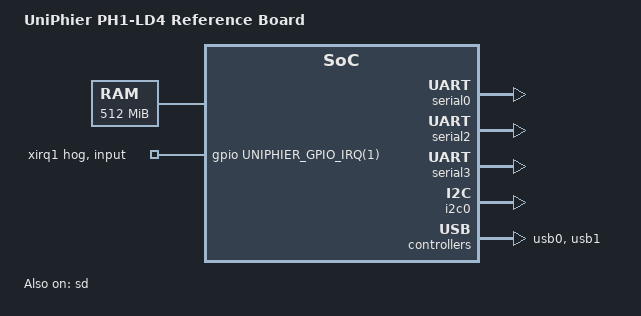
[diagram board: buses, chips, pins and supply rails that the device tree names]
// SPDX-License-Identifier: GPL-2.0+ OR MIT
//
// Device Tree Source for UniPhier PH1-LD4 Reference Board
//
// Copyright (C) 2015-2016 Socionext Inc.
//   Author: Masahiro Yamada <yamada.masahiro@socionext.com>

/dts-v1/;
#include "uniphier-ph1-ld4.dtsi"
#include "uniphier-ref-daughter.dtsi"
#include "uniphier-support-card.dtsi"

/ {
	model = "UniPhier PH1-LD4 Reference Board";
	compatible = "socionext,ph1-ld4-ref", "socionext,ph1-ld4";

	memory {
		device_type = "memory";
		reg = <0x80000000 0x20000000>;
	};

	chosen {
		stdout-path = "serial0:115200n8";
	};

	aliases {
		serial0 = &serial0;
		serial1 = &serial1;
		serial2 = &serial2;
		serial3 = &serial3;
		i2c0 = &i2c0;
		i2c1 = &i2c1;
		i2c2 = &i2c2;
		i2c3 = &i2c3;
	};
};

&ethsc {
	interrupts = <1 8>;
};

&serialsc {
	interrupts = <1 8>;
};

&serial0 {
	status = "okay";
};

&serial2 {
	status = "okay";
};

&serial3 {
	status = "okay";
};

&gpio {
	xirq1 {
		gpio-hog;
		gpios = <UNIPHIER_GPIO_IRQ(1) 0>;
		input;
	};
};

&i2c0 {
	status = "okay";
};

&sd {
	status = "okay";
};

&usb0 {
	status = "okay";
};

&usb1 {
	status = "okay";
};
